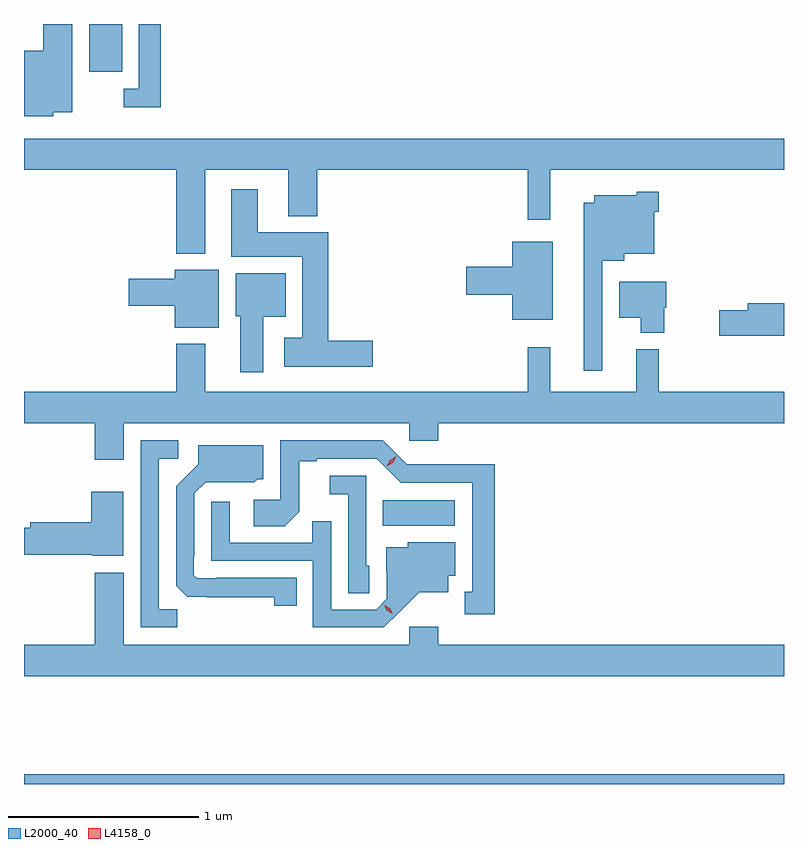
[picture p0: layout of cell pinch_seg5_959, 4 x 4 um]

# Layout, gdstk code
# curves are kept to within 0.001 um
import gdstk
lib = gdstk.Library(unit=1e-6, precision=1e-09)
def R(c, l, rs):  # rectangles x0, y0, x1, y1
    for r in rs: c.add(gdstk.rectangle(r[:2], r[2:], *l))
def P(c, l, *ps):  # polygons
    for p in ps: c.add(gdstk.Polygon(p, *l))
L2000_40 = (2000, 40)
L4158_0 = (4158, 0)

pinch_seg5_959 = lib.new_cell('pinch_seg5_959')
R(pinch_seg5_959, L2000_40, [(745.537,878.836,749.537,878.888), (747.424,880.196,747.805,880.33), (745.88,882.584,746.053,882.836)])
P(pinch_seg5_959, L2000_40, [(746.258,882.836),(746.142,882.836),(746.142,882.495),(746.061,882.495),(746.061,882.398),(746.258,882.398)],
  [(745.692,882.371),(745.792,882.371),(745.792,882.836),(745.637,882.836),(745.637,882.694),(745.538,882.694),(745.538,882.35),(745.692,882.35)],
  [(746.491,882.068),(746.927,882.068),(746.927,881.825),(747.08,881.825),(747.08,882.068),(748.189,882.068),(748.189,881.805),(748.308,881.805),(748.308,882.068),(749.537,882.068),(749.537,882.232),(745.537,882.232),(745.537,882.068),(746.339,882.068),(746.339,881.627),(746.491,881.627)],
  [(747.373,881.168),(747.137,881.168),(747.137,881.74),(746.767,881.74),(746.767,881.965),(746.627,881.965),(746.627,881.612),(747.002,881.612),(747.002,881.185),(746.907,881.185),(746.907,881.033),(747.373,881.033)],
  [(748.581,881.591),(748.696,881.591),(748.696,881.627),(748.855,881.627),(748.855,881.849),(748.877,881.849),(748.877,881.953),(748.761,881.953),(748.761,881.935),(748.538,881.935),(748.538,881.896),(748.484,881.896),(748.484,881.01),(748.581,881.01)],
  [(748.321,881.689),(748.106,881.689),(748.106,881.558),(747.864,881.558),(747.864,881.411),(748.106,881.411),(748.106,881.279),(748.321,881.279)],
  [(746.563,881.542),(746.33,881.542),(746.33,881.495),(746.088,881.495),(746.088,881.353),(746.33,881.353),(746.33,881.237),(746.563,881.237)],
  [(746.797,881.294),(746.914,881.294),(746.914,881.524),(746.651,881.524),(746.651,881.298),(746.675,881.298),(746.675,881.004),(746.797,881.004)],
  [(748.906,881.343),(748.918,881.343),(748.918,881.479),(748.67,881.479),(748.67,881.291),(748.784,881.291),(748.784,881.21),(748.906,881.21)],
  [(749.537,881.366),(749.345,881.366),(749.345,881.33),(749.196,881.33),(749.196,881.195),(749.537,881.195)],
  [(746.062,880.736),(747.564,880.736),(747.564,880.643),(747.716,880.643),(747.716,880.736),(749.537,880.736),(749.537,880.9),(748.877,880.9),(748.877,881.125),(748.76,881.125),(748.76,880.9),(748.307,880.9),(748.307,881.134),(748.189,881.134),(748.189,880.9),(746.491,880.9),(746.491,881.152),(746.339,881.152),(746.339,880.9),(745.537,880.9),(745.537,880.736),(745.91,880.736),(745.91,880.542),(746.062,880.542)],
  [(748.015,880.52),(747.774,880.52),(747.774,880.518),(747.552,880.518),(747.426,880.644),(746.886,880.644),(746.886,880.332),(746.745,880.332),(746.745,880.192),(746.909,880.192),(746.985,880.268),(746.985,880.536),(747.079,880.536),(747.079,880.548),(747.393,880.548),(747.519,880.422),(747.896,880.422),(747.896,879.849),(747.857,879.849),(747.857,879.729),(748.015,879.729)],
  [(746.343,879.755),(746.247,879.755),(746.247,880.548),(746.35,880.548),(746.35,880.644),(746.151,880.644),(746.151,879.66),(746.343,879.66)],
  [(746.972,879.921),(746.548,879.921),(746.548,879.918),(746.448,879.918),(746.43,879.936),(746.43,880.036),(746.433,880.036),(746.433,880.365),(746.493,880.425),(746.75,880.424),(746.766,880.44),(746.797,880.44),(746.797,880.618),(746.453,880.618),(746.453,880.518),(746.337,880.402),(746.337,879.88),(746.396,879.821),(746.854,879.82),(746.854,879.774),(746.972,879.774)],
  [(747.354,879.984),(747.339,879.984),(747.339,880.458),(747.147,880.458),(747.147,880.361),(747.243,880.361),(747.243,879.841),(747.354,879.841)],
  [(746.059,880.375),(745.892,880.375),(745.892,880.214),(745.571,880.214),(745.571,880.184),(745.537,880.184),(745.537,880.042),(745.896,880.042),(745.896,880.037),(746.059,880.037)],
  [(747.514,879.743),(747.617,879.845),(747.769,879.845),(747.769,879.932),(747.808,879.932),(747.808,880.108),(747.558,880.108),(747.558,880.081),(747.443,880.081),(747.443,879.952),(747.447,879.952),(747.447,879.81),(747.39,879.753),(747.153,879.753),(747.153,880.22),(747.055,880.22),(747.055,880.107),(746.619,880.107),(746.619,880.321),(746.523,880.321),(746.523,880.011),(747.057,880.011),(747.057,879.66),(747.43,879.66)],
  [(749.537,879.568),(747.716,879.568),(747.716,879.664),(747.564,879.664),(747.564,879.568),(746.062,879.568),(746.062,879.949),(745.91,879.949),(745.91,879.568),(745.537,879.568),(745.537,879.404),(749.537,879.404)])
P(pinch_seg5_959, L4158_0, [(747.447,880.508),(747.447,880.508),(747.464,880.541),(747.495,880.56),(747.495,880.56),(747.495,880.56),(747.478,880.527),(747.447,880.508)],
  [(747.478,879.732),(747.448,879.748),(747.432,879.778),(747.432,879.778),(747.432,879.778),(747.462,879.762),(747.479,879.733),(747.479,879.732)])

lib.write_gds('pinch_seg5_959.gds')
